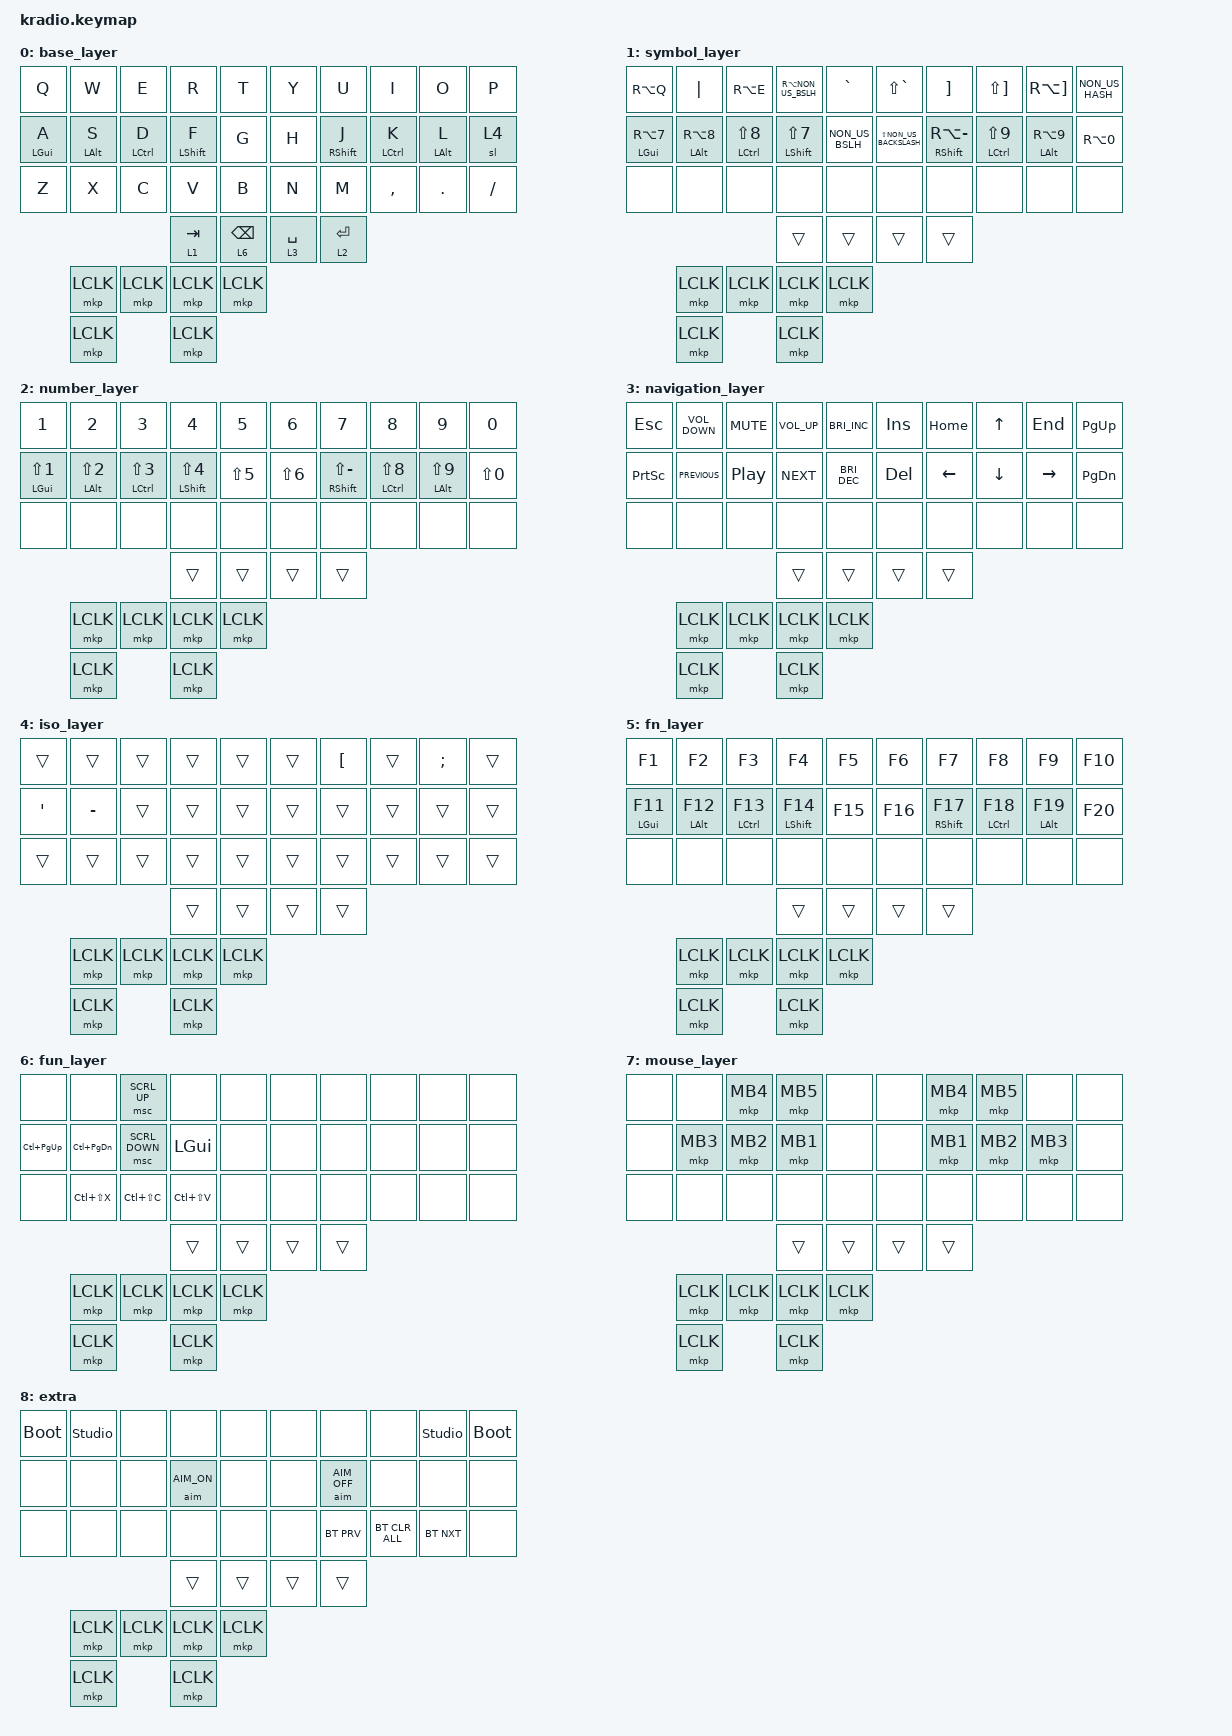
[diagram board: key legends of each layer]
#include <dt-bindings/zmk/mouse.h>
#include <behaviors/anti_idle_mode.dtsi>
#include <dt-bindings/anti_idle_mode.h>
#include <behaviors.dtsi>
#include <dt-bindings/zmk/bt.h>
#include <dt-bindings/zmk/keys.h>
#include <dt-bindings/zmk/pointing.h>

#define KEYS_L 4 3 2 1 0 14 13 12 11 10 24 23 22 21 20
#define KEYS_R 5 6 7 8 9 15 16 17 18 19 25 26 27 28 29
#define THUMBS 30 31 32 33

/ {
    combos {
        compatible = "zmk,combos";

        Enter {
            timeout-ms = <300>;
            bindings = <&kp ENTER>;
            key-positions = <16 17 18>;
        };

        Backspace {
            timeout-ms = <300>;
            bindings = <&kp BACKSPACE>;
            key-positions = <6 7 8>;
        };

        Tab {
            timeout-ms = <300>;
            bindings = <&kp TAB>;
            key-positions = <12 13 11>;
        };

        Escape {
            timeout-ms = <100>;
            bindings = <&kp ESCAPE>;
            key-positions = <3 2 1>;
        };

        caps {
            bindings = <&kp CAPSLOCK>;
            key-positions = <13 16>;
        };
    };

    behaviors {
        hml: home_row_mod_left {
            compatible = "zmk,behavior-hold-tap";
            #binding-cells = <2>;
            flavor = "balanced";
            require-prior-idle-ms = <150>;
            tapping-term-ms = <280>;
            quick-tap-ms = <175>;
            bindings = <&kp>, <&kp>;

            hold-trigger-key-positions = <KEYS_R THUMBS>;
            hold-trigger-on-release;
        };

        hmr: home_row_mod_right {
            compatible = "zmk,behavior-hold-tap";
            #binding-cells = <2>;
            flavor = "balanced";
            require-prior-idle-ms = <150>;
            tapping-term-ms = <280>;
            quick-tap-ms = <175>;
            bindings = <&kp>, <&kp>;

            hold-trigger-key-positions = <KEYS_L THUMBS>;
            hold-trigger-on-release;
        };

        ltm: layer-tap-momentary {
            compatible = "zmk,behavior-hold-tap";
            #binding-cells = <2>;
            flavor = "tap-preferred";
            tapping-term-ms = <200>;
            bindings = <&mo>, <&mkp>;
        };

        lth: layer-tap-hold-while-undecided {
            compatible = "zmk,behavior-hold-tap";
            #binding-cells = <2>;
            flavor = "hold-preferred";
            hold-while-undecided;
            tapping-term-ms = <150>;
            bindings = <&mo>, <&mkp>;
        };

        mto: momentary-or-toggle {
            compatible = "zmk,behavior-hold-tap";
            #binding-cells = <2>;
            flavor = "hold-preferred";
            hold-while-undecided;
            tapping-term-ms = <200>;
            bindings = <&mo>, <&to>;
        };

        anti_idle {
            compatible = "zmk,anti-idle-generic";
            interval-ms = <60000>;
            bindings = <&mmv MOVE_DOWN &mmv MOVE_UP>;
            tap_ms = <40>;
            wait_ms = <200>;
        };
    };

    keymap {
        compatible = "zmk,keymap";

        base_layer {
            bindings = <
&kp Q        &kp W        &kp E         &kp R         &kp T              &kp Y        &kp U         &kp I         &kp O        &kp P
&hml LGUI A  &hml LALT S  &hml LCTRL D  &hml LSHFT F  &kp G              &kp H        &hmr RSHFT J  &hmr LCTRL K  &hmr LALT L  &sl 4
&kp Z        &kp X        &kp C         &kp V         &kp B              &kp N        &kp M         &kp COMMA     &kp DOT      &kp SLASH
                                        &lt 1 TAB     &lt 6 BACKSPACE    &lt 3 SPACE  &lt 2 ENTER
        &mkp LCLK &mkp LCLK &mkp LCLK &mkp LCLK
        &mkp LCLK                     &mkp LCLK            
>;
        };

        symbol_layer {
            bindings = <
&kp RA(Q)               &kp PIPE                &kp RA(E)                &kp RA(NON_US_BSLH)      &kp GRAVE          &kp LS(GRAVE)             &kp RIGHT_BRACKET     &kp LS(RIGHT_BRACKET)    &kp RA(RIGHT_BRACKET)   &kp NON_US_HASH
&hml LGUI RA(NUMBER_7)  &hml LALT RA(NUMBER_8)  &hml LCTRL LS(NUMBER_8)  &hml LSHFT LS(NUMBER_7)  &kp NON_US_BSLH    &kp LS(NON_US_BACKSLASH)  &hmr RSHFT RA(MINUS)  &hmr LCTRL LS(NUMBER_9)  &hmr LALT RA(NUMBER_9)  &kp RA(NUMBER_0)
&none                   &none                   &none                    &none                    &none              &none                     &none                 &none                    &none                   &none
                                                                         &trans                   &trans             &trans                    &trans
            
        &mkp LCLK &mkp LCLK &mkp LCLK &mkp LCLK
        &mkp LCLK                     &mkp LCLK
>;
        };

        number_layer {
            bindings = <
&kp N1                  &kp N2                  &kp N3                   &kp N4                   &kp N5              &kp N6            &kp N7                &kp N8                   &kp N9                  &kp N0
&hml LGUI LS(NUMBER_1)  &hml LALT LS(NUMBER_2)  &hml LCTRL LS(NUMBER_3)  &hml LSHFT LS(NUMBER_4)  &kp LS(NUMBER_5)    &kp LS(NUMBER_6)  &hmr RSHFT LS(MINUS)  &hmr LCTRL LS(NUMBER_8)  &hmr LALT LS(NUMBER_9)  &kp LS(NUMBER_0)
&none                   &none                   &none                    &none                    &none               &none             &none                 &none                    &none                   &none
                                                                         &trans                   &trans              &trans            &trans
        &mkp LCLK &mkp LCLK &mkp LCLK &mkp LCLK
        &mkp LCLK                     &mkp LCLK            
>;
        };

        navigation_layer {
            bindings = <
&kp ESCAPE       &kp C_VOLUME_DOWN  &kp C_MUTE        &kp C_VOLUME_UP  &kp C_BRIGHTNESS_INC    &kp INS     &kp HOME  &kp UP    &kp END    &kp PAGE_UP
&kp PRINTSCREEN  &kp C_PREVIOUS     &kp C_PLAY_PAUSE  &kp C_NEXT       &kp C_BRIGHTNESS_DEC    &kp DELETE  &kp LEFT  &kp DOWN  &kp RIGHT  &kp PAGE_DOWN
&none            &none              &none             &none            &none                   &none       &none     &none     &none      &none
                                                      &trans           &trans                  &trans      &trans
        &mkp LCLK &mkp LCLK &mkp LCLK &mkp LCLK
        &mkp LCLK                     &mkp LCLK            
>;
        };

        iso_layer {
            bindings = <
&trans            &trans     &trans  &trans  &trans    &trans  &kp LEFT_BRACKET  &trans  &kp SEMICOLON  &trans
&kp SINGLE_QUOTE  &kp MINUS  &trans  &trans  &trans    &trans  &trans            &trans  &trans         &trans
&trans            &trans     &trans  &trans  &trans    &trans  &trans            &trans  &trans         &trans
                                     &trans  &trans    &trans  &trans
        &mkp LCLK &mkp LCLK &mkp LCLK &mkp LCLK
        &mkp LCLK                     &mkp LCLK            
>;
        };

        fn_layer {
            bindings = <
&kp F1   &kp F2   &kp F3   &kp F4   &kp F5     &kp F6   &kp F7   &kp F8   &kp F9   &kp F10
&hml LGUI F11  &hml LALT F12  &hml LCTRL F13  &hml LSHFT F14  &kp F15    &kp F16  &hmr RSHFT F17  &hmr LCTRL F18  &hmr LALT F19 &kp F20
&none    &none    &none    &none    &none      &none    &none    &none    &none    &none
                           &trans   &trans     &trans   &trans
        &mkp LCLK &mkp LCLK &mkp LCLK &mkp LCLK
        &mkp LCLK                     &mkp LCLK            
>;
        };

        fun_layer {
            bindings = <
&none          &none              &msc SCRL_UP    &none          &none     &none   &none   &none  &none  &none
&kp LC(PG_UP)  &kp LC(PAGE_DOWN)  &msc SCRL_DOWN  &kp LEFT_GUI   &none     &none   &none   &none  &none  &none
&none          &kp LC(LS(X))      &kp LC(LS(C))   &kp LC(LS(V))  &none     &none   &none   &none  &none  &none
                                                  &trans         &trans    &trans  &trans
        &mkp LCLK &mkp LCLK &mkp LCLK &mkp LCLK
        &mkp LCLK                     &mkp LCLK            
>;
        };

        mouse_layer {
            bindings = <
&none  &none     &mkp MB4  &mkp MB5  &none     &none   &mkp MB4  &mkp MB5  &none     &none
&none  &mkp MB3  &mkp MB2  &mkp MB1  &none     &none   &mkp MB1  &mkp MB2  &mkp MB3  &none
&none  &none     &none     &none     &none     &none   &none     &none     &none     &none
                           &trans    &trans    &trans  &trans
        &mkp LCLK &mkp LCLK &mkp LCLK &mkp LCLK
        &mkp LCLK                     &mkp LCLK            
>;
        };

        extra {
            bindings = <
&bootloader  &studio_unlock  &none  &none        &none     &none   &none         &none           &studio_unlock  &bootloader
&none        &none           &none  &aim AIM_ON  &none     &none   &aim AIM_OFF  &none           &none           &none
&none        &none           &none  &none        &none     &none   &bt BT_PRV    &bt BT_CLR_ALL  &bt BT_NXT      &none
                                    &trans       &trans    &trans  &trans
        &mkp LCLK &mkp LCLK &mkp LCLK &mkp LCLK
        &mkp LCLK                     &mkp LCLK            
>;
        };
    };

    conditional_layers {
        compatible = "zmk,conditional-layers";

        Settings {
            if-layers = <1 2>;
            then-layer = <5>;
        };

        Extra {
            if-layers = <3 6>;
            then-layer = <8>;
        };

        Mousel {
            if-layers = <1 6>;
            then-layer = <7>;
        };

        Mouser {
            if-layers = <3 2>;
            then-layer = <7>;
        };
    };
};
